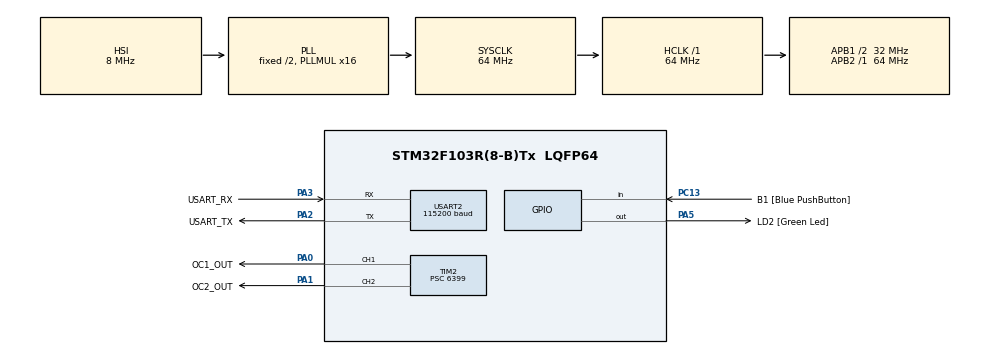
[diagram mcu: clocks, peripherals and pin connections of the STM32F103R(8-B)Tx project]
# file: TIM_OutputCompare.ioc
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Mcu.Family=STM32F1
Mcu.Name=STM32F103R(8-B)Tx
Mcu.Package=LQFP64
NVIC.PriorityGroup=NVIC_PRIORITYGROUP_4
NVIC.TIM2_IRQn=true\:1\:0\:false\:false\:true\:true\:true\:true
PA0-WKUP.GPIO_Label=OC1_OUT
PA0-WKUP.Signal=S_TIM2_CH1_ETR
PA1.GPIO_Label=OC2_OUT
PA1.Signal=S_TIM2_CH2
PA13.GPIO_Label=TMS
PA13.Mode=Serial_Wire
PA13.Signal=SYS_JTMS-SWDIO
PA14.GPIO_Label=TCK
PA14.Mode=Serial_Wire
PA14.Signal=SYS_JTCK-SWCLK
PA2.GPIO_Label=USART_TX
PA2.GPIO_Mode=GPIO_MODE_AF_PP
PA2.GPIO_PuPd=GPIO_NOPULL
PA2.GPIO_Speed=GPIO_SPEED_FREQ_LOW
PA2.Mode=Asynchronous
PA2.Signal=USART2_TX
PA3.GPIO_Label=USART_RX
PA3.GPIO_PuPd=GPIO_NOPULL
PA3.GPIO_Speed=GPIO_SPEED_FREQ_LOW
PA3.Mode=Asynchronous
PA3.Signal=USART2_RX
PA5.GPIO_Label=LD2 [Green Led]
PA5.GPIO_ModeDefaultOutputPP=GPIO_MODE_OUTPUT_PP
PA5.GPIO_PuPd=GPIO_NOPULL
PA5.GPIO_Speed=GPIO_SPEED_FREQ_LOW
PA5.Signal=GPIO_Output
PB3.GPIO_Label=SWO
PB3.Signal=SYS_JTDO-TRACESWO
PC13-TAMPER-RTC.GPIO_Label=B1 [Blue PushButton]
PC13-TAMPER-RTC.GPIO_PuPd=GPIO_NOPULL
PC13-TAMPER-RTC.Signal=GPIO_Input
PC14-OSC32_IN.Mode=LSE-External-Oscillator
PC14-OSC32_IN.Signal=RCC_OSC32_IN
PC15-OSC32_OUT.Mode=LSE-External-Oscillator
PC15-OSC32_OUT.Signal=RCC_OSC32_OUT
PD0-OSC_IN.Mode=HSE-External-Clock-Source
PD0-OSC_IN.Signal=RCC_OSC_IN
PD1-OSC_OUT.Mode=HSE-External-Clock-Source
PD1-OSC_OUT.Signal=RCC_OSC_OUT
ProjectManager.HeapSize=0x200
ProjectManager.StackSize=0x400
ProjectManager.TargetToolchain=STM32CubeIDE
RCC.AHBFreq_Value=64000000
RCC.APB1CLKDivider=RCC_HCLK_DIV2
RCC.APB1Freq_Value=32000000
RCC.APB1TimFreq_Value=64000000
RCC.APB2Freq_Value=64000000
RCC.APB2TimFreq_Value=64000000
RCC.HCLKFreq_Value=64000000
RCC.PLLMUL=RCC_PLL_MUL16
RCC.RTCClockSelection=RCC_RTCCLKSOURCE_LSE
RCC.SYSCLKFreq_VALUE=64000000
RCC.SYSCLKSource=RCC_SYSCLKSOURCE_PLLCLK
RCC.USBFreq_Value=64000000
SH.S_TIM2_CH1_ETR.0=TIM2_CH1,Output Compare1 CH1
SH.S_TIM2_CH2.0=TIM2_CH2,Output Compare2 CH2
TIM2.Channel-Output\ Compare1\ CH1=TIM_CHANNEL_1
TIM2.Channel-Output\ Compare2\ CH2=TIM_CHANNEL_2
TIM2.Channel-Output\ Compare3\ No\ Output=TIM_CHANNEL_3
TIM2.OCMode_1=TIM_OCMODE_TOGGLE
TIM2.OCMode_2=TIM_OCMODE_TOGGLE
TIM2.OCMode_3=TIM_OCMODE_TIMING
TIM2.Period=65535
TIM2.Prescaler=6399
TIM2.Pulse-Output\ Compare1\ CH1=2500
TIM2.Pulse-Output\ Compare2\ CH2=1000
TIM2.Pulse-Output\ Compare3\ No\ Output=10000
USART2.BaudRate=115200
USART2.VirtualMode=VM_ASYNC
VP_TIM2_VS_ClockSourceINT.Mode=Internal
VP_TIM2_VS_no_output3.Mode=Output Compare3 No Output
board=NUCLEO-F103RB

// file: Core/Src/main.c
/* USER CODE BEGIN Header */
/**
 ******************************************************************************
 * @file           : main.c
 * @brief          : Main program body
 ******************************************************************************
 * @attention
 *
 * Copyright (c) 2026 STMicroelectronics.
 * All rights reserved.
 *
 * This software is licensed under terms that can be found in the LICENSE file
 * in the root directory of this software component.
 * If no LICENSE file comes with this software, it is provided AS-IS.
 *
 ******************************************************************************
 */
/**
 * 04_TIM_OutputCompare  —  [계층: HAL]  TIM2 출력 비교(Output Compare): Toggle 모드 + Timing 모드
 *
 * 동작 (타이머 하나, 자유 계수 카운터 하나로 세 채널이 서로 다른 일을 한다)
 *   - TIM2 카운터 10kHz(0.1ms), ARR=0xFFFF 자유 계수.
 *   - CH1(PA0) Toggle 모드 : CNT==CCR1 마다 핀 반전, ISR 에서 CCR1 += 2500  -> 0.25s 마다 반전 = 2Hz 깜빡임
 *   - CH2(PA1) Toggle 모드 : CCR2 += gHalf2 (B1 로 1000/500/250/2500 순환) -> 5 / 10 / 20 / 2 Hz
 *   - CH3     Timing 모드 : 핀 출력 없음, CNT==CCR3 마다 인터럽트만. CCR3 += 10000 -> 1초마다 LD2 토글 + UART 보고
 *   - PWM(05)과의 차이: PWM 은 모든 채널이 ARR(=주파수)를 공유한다. OC + CCR 전진 방식은 채널마다 주파수가 다르다.
 *
 * 배선: PA0(A0) ── 330Ω ── LED1 ── GND,   PA1(A1) ── 330Ω ── LED2 ── GND   (05_TIM_PWM 과 같은 배선)
 *
 * 타이머 계산
 *   TIM2 클럭 64MHz,  PSC=6399 -> 10kHz (0.1ms),  ARR=65535 -> 오버플로 주기 6.5536s
 *   Toggle 출력 주파수 f = 10kHz / (2 x HALF)      예) HALF=2500 -> 2Hz
 *
 * ISR vs 콜백
 *   TIM2_IRQHandler (stm32f1xx_it.c, 진짜 ISR) -> HAL_TIM_IRQHandler() 가 SR.CCxIF 를 지움
 *     -> HAL_TIM_OC_DelayElapsedCallback() (이 파일) : htim->Channel 로 채널을 구분해 CCRx 를 다음 시각으로 전진
 */
/* USER CODE END Header */
#include "main.h"

/* USER CODE BEGIN Includes */
#include <stdio.h>
/* USER CODE END Includes */

/* USER CODE BEGIN PD */
#define OC_TICK_HZ     10000U   /* 카운터 클럭 = 64MHz / (PSC+1) = 64MHz / 6400 */
#define CH1_HALF       2500U    /* CH1 반주기 [tick] = 0.25s -> 2Hz */
#define CH3_INTERVAL   10000U   /* CH3 이벤트 간격 [tick] = 1s */
#define B1_DEBOUNCE_MS 50U
/* USER CODE END PD */

TIM_HandleTypeDef htim2;
UART_HandleTypeDef huart2;

/* USER CODE BEGIN PV */
/* CH2 반주기 후보 [tick]: 5Hz -> 10Hz -> 20Hz -> 2Hz -> ... */
static const uint16_t kHalf2Table[] = { 1000U, 500U, 250U, 2500U };
static volatile uint16_t gHalf2 = 1000U;   /* main 이 쓰고 ISR 이 읽는다 (16비트 쓰기는 원자적) */
static volatile uint32_t gSec;             /* CH3 이벤트 횟수 = 경과 초 */
static volatile uint8_t  gSecFlag;         /* CH3 이벤트 -> main 루프에 보고 요청 */
/* USER CODE END PV */

void SystemClock_Config(void);
static void MX_GPIO_Init(void);
static void MX_TIM2_Init(void);
static void MX_USART2_UART_Init(void);
/* USER CODE BEGIN PFP */
static void PrintFreq(const char *name, uint16_t half);
/* USER CODE END PFP */

/* USER CODE BEGIN 0 */
/*
 * printf 리타깃 (HAL 계층)
 *   printf -> newlib _write (syscalls.c) -> __io_putchar(ch) -> HAL_UART_Transmit (블로킹)
 */
int __io_putchar(int ch) {
	if (ch == '\n') {
		uint8_t cr = '\r';
		HAL_UART_Transmit(&huart2, &cr, 1, HAL_MAX_DELAY);
	}
	HAL_UART_Transmit(&huart2, (uint8_t*) &ch, 1, HAL_MAX_DELAY);
	return ch;
}

/* Toggle 출력 주파수 = OC_TICK_HZ / (2 x half), 소수 첫째 자리까지 정수 연산으로 출력 */
static void PrintFreq(const char *name, uint16_t half)
{
	uint32_t f10 = (OC_TICK_HZ * 10U) / (2U * half);   /* 주파수 x10 */
	printf("%s %2lu.%lu Hz", name, (unsigned long)(f10 / 10U), (unsigned long)(f10 % 10U));
}
/* USER CODE END 0 */

int main(void)
{

  /* USER CODE BEGIN 1 */
  uint8_t  half2Idx = 0;
  uint8_t  prevB1 = 1;          /* B1 은 눌리면 0 (외부 풀업) */
  uint32_t lastB1Tick = 0;
  /* USER CODE END 1 */

  /* MCU Configuration--------------------------------------------------------*/

  /* Reset of all peripherals, Initializes the Flash interface and the Systick. */
  HAL_Init();

  /* Configure the system clock */
  SystemClock_Config();

  /* Initialize all configured peripherals */
  MX_GPIO_Init();
  MX_TIM2_Init();
  MX_USART2_UART_Init();
  /* USER CODE BEGIN 2 */
  printf("\nTIM2 Output Compare start (10kHz tick, CH1/CH2 toggle, CH3 timing)\n");

  /* CH3 = Timing 모드: 비교 인터럽트만 켠다 (DIER.CC3IE=1).
   * HAL_TIM_OC_Start_IT(CH3) 를 쓰지 않는 이유: 이 함수는 CCER.CC3E=1 로 출력까지 켠다.
   * TIM2_CH3 의 핀은 PA2 = USART2_TX 이므로, F1 에서 두 주변장치가 같은 AF 핀을 구동하면 충돌한다. */
  __HAL_TIM_ENABLE_IT(&htim2, TIM_IT_CC3);

  /* CH1, CH2 = Toggle 모드: DIER.CCxIE=1, CCER.CCxE=1, CR1.CEN=1 */
  if (HAL_TIM_OC_Start_IT(&htim2, TIM_CHANNEL_1) != HAL_OK) Error_Handler();
  if (HAL_TIM_OC_Start_IT(&htim2, TIM_CHANNEL_2) != HAL_OK) Error_Handler();

  /* 레지스터 확인 (기대값: CCMR1=0x3030 OC1M/OC2M=011 Toggle, CCMR2=0x0000 OC3M=000 Frozen,
   *               CCER=0x0011 CC1E/CC2E, DIER=0x000E CC1IE/CC2IE/CC3IE) */
  printf("CCMR1=0x%04lX CCMR2=0x%04lX CCER=0x%04lX DIER=0x%04lX\n",
         (unsigned long)TIM2->CCMR1, (unsigned long)TIM2->CCMR2,
         (unsigned long)TIM2->CCER,  (unsigned long)TIM2->DIER);
  /* USER CODE END 2 */

  /* Infinite loop */
  while (1)
  {

    /* USER CODE BEGIN 3 */
    /* ---- B1(PC13) 하강 에지: CH2 반주기 변경 (폴링 + 디바운스) ---- */
    uint8_t b1 = (uint8_t)HAL_GPIO_ReadPin(B1_GPIO_Port, B1_Pin);   /* GPIOC->IDR bit13 */
    if (prevB1 == 1U && b1 == 0U && (HAL_GetTick() - lastB1Tick) > B1_DEBOUNCE_MS)
    {
      lastB1Tick = HAL_GetTick();
      half2Idx = (uint8_t)((half2Idx + 1U) % (sizeof kHalf2Table / sizeof kHalf2Table[0]));
      gHalf2 = kHalf2Table[half2Idx];          /* 다음 CH2 비교부터 적용된다 */
      printf("B1: ");
      PrintFreq("CH2(PA1)", gHalf2);
      printf("\n");
    }
    prevB1 = b1;

    /* ---- CH3 이벤트(1초)마다 보고 ---- */
    if (gSecFlag)
    {
      gSecFlag = 0;
      printf("[%3lu s] ", (unsigned long)gSec);
      PrintFreq("CH1(PA0)", CH1_HALF);
      printf("  ");
      PrintFreq("CH2(PA1)", gHalf2);
      printf("  | CNT=%5lu CCR1=%5lu CCR2=%5lu CCR3=%5lu\n",
             (unsigned long)__HAL_TIM_GET_COUNTER(&htim2),
             (unsigned long)__HAL_TIM_GET_COMPARE(&htim2, TIM_CHANNEL_1),
             (unsigned long)__HAL_TIM_GET_COMPARE(&htim2, TIM_CHANNEL_2),
             (unsigned long)__HAL_TIM_GET_COMPARE(&htim2, TIM_CHANNEL_3));
    }
  }
  /* USER CODE END 3 */
}

void SystemClock_Config(void)
{
  RCC_OscInitTypeDef RCC_OscInitStruct = {0};
  RCC_ClkInitTypeDef RCC_ClkInitStruct = {0};

  /** Initializes the RCC Oscillators according to the specified parameters
  * in the RCC_OscInitTypeDef structure.
  */
  RCC_OscInitStruct.OscillatorType = RCC_OSCILLATORTYPE_HSI;
  RCC_OscInitStruct.HSIState = RCC_HSI_ON;
  RCC_OscInitStruct.HSICalibrationValue = RCC_HSICALIBRATION_DEFAULT;
  RCC_OscInitStruct.PLL.PLLState = RCC_PLL_ON;
  RCC_OscInitStruct.PLL.PLLSource = RCC_PLLSOURCE_HSI_DIV2;
  RCC_OscInitStruct.PLL.PLLMUL = RCC_PLL_MUL16;
  if (HAL_RCC_OscConfig(&RCC_OscInitStruct) != HAL_OK)
  {
    Error_Handler();
  }

  /** Initializes the CPU, AHB and APB buses clocks
  */
  RCC_ClkInitStruct.ClockType = RCC_CLOCKTYPE_HCLK|RCC_CLOCKTYPE_SYSCLK
                              |RCC_CLOCKTYPE_PCLK1|RCC_CLOCKTYPE_PCLK2;
  RCC_ClkInitStruct.SYSCLKSource = RCC_SYSCLKSOURCE_PLLCLK;
  RCC_ClkInitStruct.AHBCLKDivider = RCC_SYSCLK_DIV1;
  RCC_ClkInitStruct.APB1CLKDivider = RCC_HCLK_DIV2;
  RCC_ClkInitStruct.APB2CLKDivider = RCC_HCLK_DIV1;

  if (HAL_RCC_ClockConfig(&RCC_ClkInitStruct, FLASH_LATENCY_2) != HAL_OK)
  {
    Error_Handler();
  }
}

static void MX_TIM2_Init(void)
{

  TIM_ClockConfigTypeDef sClockSourceConfig = {0};
  TIM_MasterConfigTypeDef sMasterConfig = {0};
  TIM_OC_InitTypeDef sConfigOC = {0};

  htim2.Instance = TIM2;
  htim2.Init.Prescaler = 6399;
  htim2.Init.CounterMode = TIM_COUNTERMODE_UP;
  htim2.Init.Period = 65535;
  htim2.Init.ClockDivision = TIM_CLOCKDIVISION_DIV1;
  htim2.Init.AutoReloadPreload = TIM_AUTORELOAD_PRELOAD_DISABLE;
  if (HAL_TIM_Base_Init(&htim2) != HAL_OK)
  {
    Error_Handler();
  }
  sClockSourceConfig.ClockSource = TIM_CLOCKSOURCE_INTERNAL;
  if (HAL_TIM_ConfigClockSource(&htim2, &sClockSourceConfig) != HAL_OK)
  {
    Error_Handler();
  }
  if (HAL_TIM_OC_Init(&htim2) != HAL_OK)
  {
    Error_Handler();
  }
  sMasterConfig.MasterOutputTrigger = TIM_TRGO_RESET;
  sMasterConfig.MasterSlaveMode = TIM_MASTERSLAVEMODE_DISABLE;
  if (HAL_TIMEx_MasterConfigSynchronization(&htim2, &sMasterConfig) != HAL_OK)
  {
    Error_Handler();
  }
  sConfigOC.OCMode = TIM_OCMODE_TOGGLE;
  sConfigOC.Pulse = 2500;
  sConfigOC.OCPolarity = TIM_OCPOLARITY_HIGH;
  sConfigOC.OCFastMode = TIM_OCFAST_DISABLE;
  if (HAL_TIM_OC_ConfigChannel(&htim2, &sConfigOC, TIM_CHANNEL_1) != HAL_OK)
  {
    Error_Handler();
  }
  sConfigOC.Pulse = 1000;
  if (HAL_TIM_OC_ConfigChannel(&htim2, &sConfigOC, TIM_CHANNEL_2) != HAL_OK)
  {
    Error_Handler();
  }
  sConfigOC.OCMode = TIM_OCMODE_TIMING;
  sConfigOC.Pulse = 10000;
  if (HAL_TIM_OC_ConfigChannel(&htim2, &sConfigOC, TIM_CHANNEL_3) != HAL_OK)
  {
    Error_Handler();
  }
  /* USER CODE BEGIN TIM2_Init 2 */
  /* PSC=6400-1 -> 10kHz, ARR=0xFFFF 자유 계수, ARPE=0.
   * CH1/CH2: CCMR1.OCxM=011(Toggle), CH3: CCMR2.OC3M=000(Frozen=Timing).
   * HAL_TIM_OC_ConfigChannel 은 OCxPE(프리로드)를 켜지 않는다 -> ISR 에서 쓴 CCRx 가 즉시 다음 비교값이 된다. */
  /* USER CODE END TIM2_Init 2 */
  HAL_TIM_MspPostInit(&htim2);

}

static void MX_USART2_UART_Init(void)
{

  huart2.Instance = USART2;
  huart2.Init.BaudRate = 115200;
  huart2.Init.WordLength = UART_WORDLENGTH_8B;
  huart2.Init.StopBits = UART_STOPBITS_1;
  huart2.Init.Parity = UART_PARITY_NONE;
  huart2.Init.Mode = UART_MODE_TX_RX;
  huart2.Init.HwFlowCtl = UART_HWCONTROL_NONE;
  huart2.Init.OverSampling = UART_OVERSAMPLING_16;
  if (HAL_UART_Init(&huart2) != HAL_OK)
  {
    Error_Handler();
  }

}

static void MX_GPIO_Init(void)
{
  GPIO_InitTypeDef GPIO_InitStruct = {0};

  /* GPIO Ports Clock Enable */
  __HAL_RCC_GPIOC_CLK_ENABLE();
  __HAL_RCC_GPIOD_CLK_ENABLE();
  __HAL_RCC_GPIOA_CLK_ENABLE();
  __HAL_RCC_GPIOB_CLK_ENABLE();

  /*Configure GPIO pin Output Level */
  HAL_GPIO_WritePin(LD2_GPIO_Port, LD2_Pin, GPIO_PIN_RESET);

  /*Configure GPIO pin : B1_Pin */
  GPIO_InitStruct.Pin = B1_Pin;
  GPIO_InitStruct.Mode = GPIO_MODE_INPUT;
  GPIO_InitStruct.Pull = GPIO_NOPULL;
  HAL_GPIO_Init(B1_GPIO_Port, &GPIO_InitStruct);

  /*Configure GPIO pin : LD2_Pin */
  GPIO_InitStruct.Pin = LD2_Pin;
  GPIO_InitStruct.Mode = GPIO_MODE_OUTPUT_PP;
  GPIO_InitStruct.Pull = GPIO_NOPULL;
  GPIO_InitStruct.Speed = GPIO_SPEED_FREQ_LOW;
  HAL_GPIO_Init(LD2_GPIO_Port, &GPIO_InitStruct);

}

/* USER CODE BEGIN 4 */
/* ------------------------------------------------------------------------- */
/* HAL 콜백 (ISR 문맥, HAL_TIM_IRQHandler 가 SR.CCxIF 를 지운 뒤 호출)            */
/*   CCR 전진: 다음 비교 시각 = 이번 비교 시각 + 간격.                           */
/*   ARR=0xFFFF 이므로 uint16_t 덧셈의 래핑이 카운터 래핑과 정확히 맞는다.         */
/* ------------------------------------------------------------------------- */
void HAL_TIM_OC_DelayElapsedCallback(TIM_HandleTypeDef *htim)
{
  if (htim->Instance != TIM2) return;

  switch (htim->Channel)
  {
  case HAL_TIM_ACTIVE_CHANNEL_1:   /* 핀 반전은 하드웨어가 이미 했다. 다음 반전 시각만 정한다 */
    __HAL_TIM_SET_COMPARE(htim, TIM_CHANNEL_1,
        (uint16_t)(__HAL_TIM_GET_COMPARE(htim, TIM_CHANNEL_1) + CH1_HALF));   /* TIM2->CCR1 += 2500 */
    break;

  case HAL_TIM_ACTIVE_CHANNEL_2:
    __HAL_TIM_SET_COMPARE(htim, TIM_CHANNEL_2,
        (uint16_t)(__HAL_TIM_GET_COMPARE(htim, TIM_CHANNEL_2) + gHalf2));     /* TIM2->CCR2 += gHalf2 */
    break;

  case HAL_TIM_ACTIVE_CHANNEL_3:   /* Timing 모드: 핀 변화 없음, "정해진 시각의 인터럽트"로만 쓴다 */
    __HAL_TIM_SET_COMPARE(htim, TIM_CHANNEL_3,
        (uint16_t)(__HAL_TIM_GET_COMPARE(htim, TIM_CHANNEL_3) + CH3_INTERVAL)); /* TIM2->CCR3 += 10000 */
    HAL_GPIO_TogglePin(LD2_GPIO_Port, LD2_Pin);   /* 짧은 GPIO 작업은 ISR 에서 해도 된다 */
    gSec++;
    gSecFlag = 1;                                  /* printf 는 main 루프에서 */
    break;

  default:
    break;
  }
}
/* USER CODE END 4 */

void Error_Handler(void)
{
  __disable_irq();
  while (1) {
  }
}
#ifdef USE_FULL_ASSERT
/**
  * @brief  Reports the name of the source file and the source line number
  *         where the assert_param error has occurred.
  * @param  file: pointer to the source file name
  * @param  line: assert_param error line source number
  * @retval None
  */
void assert_failed(uint8_t *file, uint32_t line)
{
  /* USER CODE BEGIN 6 */
  /* User can add his own implementation to report the file name and line
     number, ex: printf("Wrong parameters value: file %s on line %d\r\n", file,
     line) */
  /* USER CODE END 6 */
}
#endif /* USE_FULL_ASSERT */
